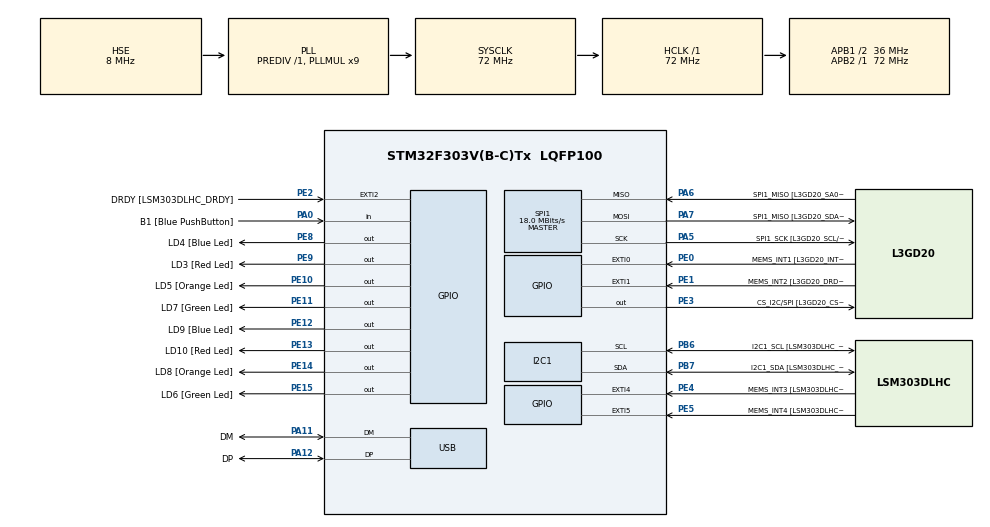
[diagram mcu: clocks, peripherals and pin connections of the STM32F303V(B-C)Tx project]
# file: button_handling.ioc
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I2C1.Timing-I2C=0x2000090E
Mcu.Family=STM32F3
Mcu.Name=STM32F303V(B-C)Tx
Mcu.Package=LQFP100
NVIC.PriorityGroup=NVIC_PRIORITYGROUP_0
NVIC.USB_LP_CAN_RX0_IRQn=true\:0\:0\:false\:false\:true\:false\:true\:true
PA0.GPIO_Label=B1 [Blue PushButton]
PA0.Signal=GPIO_Input
PA11.GPIO_Label=DM
PA11.Mode=Device
PA11.Signal=USB_DM
PA12.GPIO_Label=DP
PA12.Mode=Device
PA12.Signal=USB_DP
PA13.GPIO_Label=SWDIO
PA13.Mode=Serial_Wire
PA13.Signal=SYS_JTMS-SWDIO
PA14.GPIO_Label=SWCLK
PA14.Mode=Serial_Wire
PA14.Signal=SYS_JTCK-SWCLK
PA5.GPIO_Label=SPI1_SCK [L3GD20_SCL/SPC]
PA5.Mode=Full_Duplex_Master
PA5.Signal=SPI1_SCK
PA6.GPIO_Label=SPI1_MISO [L3GD20_SA0/SDO]
PA6.Mode=Full_Duplex_Master
PA6.Signal=SPI1_MISO
PA7.GPIO_Label=SPI1_MISO [L3GD20_SDA/SDI/SDO]
PA7.Mode=Full_Duplex_Master
PA7.Signal=SPI1_MOSI
PB3.GPIO_Label=SWO
PB3.Signal=SYS_JTDO-TRACESWO
PB6.GPIO_Label=I2C1_SCL [LSM303DLHC_SCL]
PB6.GPIO_Pu=GPIO_PULLUP
PB6.Mode=I2C
PB6.Signal=I2C1_SCL
PB7.GPIO_Label=I2C1_SDA [LSM303DLHC_SDA]
PB7.GPIO_Pu=GPIO_PULLUP
PB7.Mode=I2C
PB7.Signal=I2C1_SDA
PC14-OSC32_IN.GPIO_Label=OSC32_IN
PC14-OSC32_IN.Signal=RCC_OSC32_IN
PC15-OSC32_OUT.GPIO_Label=OSC32_OUT
PC15-OSC32_OUT.Signal=RCC_OSC32_OUT
PE0.GPIO_Label=MEMS_INT1 [L3GD20_INT1]
PE0.GPIO_ModeDefaultEXTI=GPIO_MODE_EVT_RISING
PE0.Signal=GPXTI0
PE1.GPIO_Label=MEMS_INT2 [L3GD20_DRDY/INT2]
PE1.GPIO_ModeDefaultEXTI=GPIO_MODE_EVT_RISING
PE1.Signal=GPXTI1
PE10.GPIO_Label=LD5 [Orange Led]
PE10.Signal=GPIO_Output
PE11.GPIO_Label=LD7 [Green Led]
PE11.Signal=GPIO_Output
PE12.GPIO_Label=LD9 [Blue Led]
PE12.Signal=GPIO_Output
PE13.GPIO_Label=LD10 [Red Led]
PE13.Signal=GPIO_Output
PE14.GPIO_Label=LD8 [Orange Led]
PE14.Signal=GPIO_Output
PE15.GPIO_Label=LD6 [Green Led]
PE15.Signal=GPIO_Output
PE2.GPIO_Label=DRDY [LSM303DLHC_DRDY]
PE2.GPIO_ModeDefaultEXTI=GPIO_MODE_EVT_RISING
PE2.Signal=GPXTI2
PE3.GPIO_Label=CS_I2C/SPI [L3GD20_CS_I2C/SPI]
PE3.Signal=GPIO_Output
PE4.GPIO_Label=MEMS_INT3 [LSM303DLHC_INT1]
PE4.GPIO_ModeDefaultEXTI=GPIO_MODE_EVT_RISING
PE4.Signal=GPXTI4
PE5.GPIO_Label=MEMS_INT4 [LSM303DLHC_INT2]
PE5.GPIO_ModeDefaultEXTI=GPIO_MODE_EVT_RISING
PE5.Signal=GPXTI5
PE8.GPIO_Label=LD4 [Blue Led]
PE8.Signal=GPIO_Output
PE9.GPIO_Label=LD3 [Red Led]
PE9.Signal=GPIO_Output
PF0-OSC_IN.GPIO_Label=OSC_IN
PF0-OSC_IN.Mode=HSE-External-Clock-Source
PF0-OSC_IN.Signal=RCC_OSC_IN
PF1-OSC_OUT.GPIO_Label=OSC_OUT
PF1-OSC_OUT.Signal=RCC_OSC_OUT
ProjectManager.HeapSize=0x200
ProjectManager.StackSize=0x400
ProjectManager.TargetToolchain=Makefile
RCC.AHBFreq_Value=72000000
RCC.APB1CLKDivider=RCC_HCLK_DIV2
RCC.APB1Freq_Value=36000000
RCC.APB1TimFreq_Value=72000000
RCC.APB2Freq_Value=72000000
RCC.APB2TimFreq_Value=72000000
RCC.CortexFreq_Value=72000000
RCC.HCLKFreq_Value=72000000
RCC.HSE_VALUE=8000000
RCC.HSI_VALUE=8000000
RCC.LSE_VALUE=32768
RCC.PLLMUL=RCC_PLL_MUL9
RCC.PRESCALERUSB=RCC_USBCLKSOURCE_PLL_DIV1_5
RCC.SYSCLKFreq_VALUE=72000000
RCC.SYSCLKSourceVirtual=RCC_SYSCLKSOURCE_PLLCLK
RCC.USBFreq_Value=48000000
SPI1.BaudRatePrescaler=SPI_BAUDRATEPRESCALER_4
SPI1.BaudRatePrescaler-Full_Duplex_Master=SPI_BAUDRATEPRESCALER_2
SPI1.CalculateBaudRate=18.0 MBits/s
SPI1.CalculateBaudRate-Full_Duplex_Master=24.0 MBits/s
SPI1.Direction=SPI_DIRECTION_2LINES
SPI1.Mode=SPI_MODE_MASTER
SPI1.Mode-Full_Duplex_Master=SPI_MODE_MASTER
SPI1.VirtualType=VM_MASTER
USB_DEVICE.CLASS_NAME_FS=CDC
USB_DEVICE.VirtualMode=Cdc
USB_DEVICE.VirtualModeFS=Cdc_FS
VP_CRC_VS_CRC.Mode=CRC_Activate
VP_USB_DEVICE_VS_USB_DEVICE_CDC_FS.Mode=CDC_FS
board=STM32F3DISCOVERY

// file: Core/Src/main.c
/* USER CODE BEGIN Header */
/**
  ******************************************************************************
  * @file           : main.c
  * @brief          : Main program body
  ******************************************************************************
  * @attention
  *
  * Copyright (c) 2024 STMicroelectronics.
  * All rights reserved.
  *
  * This software is licensed under terms that can be found in the LICENSE file
  * in the root directory of this software component.
  * If no LICENSE file comes with this software, it is provided AS-IS.
  *
  ******************************************************************************
  */
/* USER CODE END Header */
#include "main.h"
#include "usb_device.h"

/* USER CODE BEGIN Includes */
#include "button.h"
/* USER CODE END Includes */

/* USER CODE BEGIN PD */

/* Uncoment this define to disable long press functionality after first long press button */
// #define ALLOW_LONG_PRESS_ONCE

#define ENABLE_AUTOREPEAT true
#define ENABLE_LONG_PRESS true

/* USER CODE END PD */

CRC_HandleTypeDef hcrc;

I2C_HandleTypeDef hi2c1;

SPI_HandleTypeDef hspi1;

/* USER CODE BEGIN PV */

button_def_t button_def;
volatile int32_t ctr_led0;
volatile int32_t ctr_led1;

/* USER CODE END PV */

void SystemClock_Config(void);
static void MX_GPIO_Init(void);
static void MX_I2C1_Init(void);
static void MX_SPI1_Init(void);
static void MX_CRC_Init(void);

int main(void)
{

  /* MCU Configuration--------------------------------------------------------*/

  /* Reset of all peripherals, Initializes the Flash interface and the Systick. */
  HAL_Init();

  /* Configure the system clock */
  SystemClock_Config();

  /* Initialize all configured peripherals */
  MX_GPIO_Init();
  MX_I2C1_Init();
  MX_SPI1_Init();
  MX_USB_DEVICE_Init();
  MX_CRC_Init();
  /* USER CODE BEGIN 2 */

  button_setup(&button_def, B1_GPIO_Port, B1_Pin, ENABLE_AUTOREPEAT, ENABLE_LONG_PRESS);

  /* USER CODE END 2 */

  /* Infinite loop */
  /* USER CODE BEGIN WHILE */
  while (1)
  {
    if (button_pressed(&button_def)) {
      SetLed(0, true);
    }

    if (button_long_pressed(&button_def)) {
      SetLed(1, true);
#ifdef ALLOW_LONG_PRESS_ONCE
      button_def.enable_long_press = false;
#endif
    }

    /* USER CODE END WHILE */

    /* USER CODE BEGIN 3 */
    HAL_PWR_EnterSLEEPMode(PWR_MAINREGULATOR_ON, PWR_SLEEPENTRY_WFI);
  }
  /* USER CODE END 3 */
}

void SystemClock_Config(void)
{
  RCC_OscInitTypeDef RCC_OscInitStruct = {0};
  RCC_ClkInitTypeDef RCC_ClkInitStruct = {0};
  RCC_PeriphCLKInitTypeDef PeriphClkInit = {0};

  /** Initializes the RCC Oscillators according to the specified parameters
  * in the RCC_OscInitTypeDef structure.
  */
  RCC_OscInitStruct.OscillatorType = RCC_OSCILLATORTYPE_HSI|RCC_OSCILLATORTYPE_HSE;
  RCC_OscInitStruct.HSEState = RCC_HSE_BYPASS;
  RCC_OscInitStruct.HSEPredivValue = RCC_HSE_PREDIV_DIV1;
  RCC_OscInitStruct.HSIState = RCC_HSI_ON;
  RCC_OscInitStruct.HSICalibrationValue = RCC_HSICALIBRATION_DEFAULT;
  RCC_OscInitStruct.PLL.PLLState = RCC_PLL_ON;
  RCC_OscInitStruct.PLL.PLLSource = RCC_PLLSOURCE_HSE;
  RCC_OscInitStruct.PLL.PLLMUL = RCC_PLL_MUL9;
  if (HAL_RCC_OscConfig(&RCC_OscInitStruct) != HAL_OK)
  {
    Error_Handler();
  }

  /** Initializes the CPU, AHB and APB buses clocks
  */
  RCC_ClkInitStruct.ClockType = RCC_CLOCKTYPE_HCLK|RCC_CLOCKTYPE_SYSCLK
                              |RCC_CLOCKTYPE_PCLK1|RCC_CLOCKTYPE_PCLK2;
  RCC_ClkInitStruct.SYSCLKSource = RCC_SYSCLKSOURCE_PLLCLK;
  RCC_ClkInitStruct.AHBCLKDivider = RCC_SYSCLK_DIV1;
  RCC_ClkInitStruct.APB1CLKDivider = RCC_HCLK_DIV2;
  RCC_ClkInitStruct.APB2CLKDivider = RCC_HCLK_DIV1;

  if (HAL_RCC_ClockConfig(&RCC_ClkInitStruct, FLASH_LATENCY_2) != HAL_OK)
  {
    Error_Handler();
  }
  PeriphClkInit.PeriphClockSelection = RCC_PERIPHCLK_USB|RCC_PERIPHCLK_I2C1;
  PeriphClkInit.I2c1ClockSelection = RCC_I2C1CLKSOURCE_HSI;
  PeriphClkInit.USBClockSelection = RCC_USBCLKSOURCE_PLL_DIV1_5;
  if (HAL_RCCEx_PeriphCLKConfig(&PeriphClkInit) != HAL_OK)
  {
    Error_Handler();
  }
}

static void MX_CRC_Init(void)
{

  hcrc.Instance = CRC;
  hcrc.Init.DefaultPolynomialUse = DEFAULT_POLYNOMIAL_ENABLE;
  hcrc.Init.DefaultInitValueUse = DEFAULT_INIT_VALUE_ENABLE;
  hcrc.Init.InputDataInversionMode = CRC_INPUTDATA_INVERSION_NONE;
  hcrc.Init.OutputDataInversionMode = CRC_OUTPUTDATA_INVERSION_DISABLE;
  hcrc.InputDataFormat = CRC_INPUTDATA_FORMAT_BYTES;
  if (HAL_CRC_Init(&hcrc) != HAL_OK)
  {
    Error_Handler();
  }

}

static void MX_I2C1_Init(void)
{

  hi2c1.Instance = I2C1;
  hi2c1.Init.Timing = 0x2000090E;
  hi2c1.Init.OwnAddress1 = 0;
  hi2c1.Init.AddressingMode = I2C_ADDRESSINGMODE_7BIT;
  hi2c1.Init.DualAddressMode = I2C_DUALADDRESS_DISABLE;
  hi2c1.Init.OwnAddress2 = 0;
  hi2c1.Init.OwnAddress2Masks = I2C_OA2_NOMASK;
  hi2c1.Init.GeneralCallMode = I2C_GENERALCALL_DISABLE;
  hi2c1.Init.NoStretchMode = I2C_NOSTRETCH_DISABLE;
  if (HAL_I2C_Init(&hi2c1) != HAL_OK)
  {
    Error_Handler();
  }

  /** Configure Analogue filter
  */
  if (HAL_I2CEx_ConfigAnalogFilter(&hi2c1, I2C_ANALOGFILTER_ENABLE) != HAL_OK)
  {
    Error_Handler();
  }

  /** Configure Digital filter
  */
  if (HAL_I2CEx_ConfigDigitalFilter(&hi2c1, 0) != HAL_OK)
  {
    Error_Handler();
  }

}

static void MX_SPI1_Init(void)
{

  /* SPI1 parameter configuration*/
  hspi1.Instance = SPI1;
  hspi1.Init.Mode = SPI_MODE_MASTER;
  hspi1.Init.Direction = SPI_DIRECTION_2LINES;
  hspi1.Init.DataSize = SPI_DATASIZE_4BIT;
  hspi1.Init.CLKPolarity = SPI_POLARITY_LOW;
  hspi1.Init.CLKPhase = SPI_PHASE_1EDGE;
  hspi1.Init.NSS = SPI_NSS_SOFT;
  hspi1.Init.BaudRatePrescaler = SPI_BAUDRATEPRESCALER_4;
  hspi1.Init.FirstBit = SPI_FIRSTBIT_MSB;
  hspi1.Init.TIMode = SPI_TIMODE_DISABLE;
  hspi1.Init.CRCCalculation = SPI_CRCCALCULATION_DISABLE;
  hspi1.Init.CRCPolynomial = 7;
  hspi1.Init.CRCLength = SPI_CRC_LENGTH_DATASIZE;
  hspi1.Init.NSSPMode = SPI_NSS_PULSE_ENABLE;
  if (HAL_SPI_Init(&hspi1) != HAL_OK)
  {
    Error_Handler();
  }

}

static void MX_GPIO_Init(void)
{
  GPIO_InitTypeDef GPIO_InitStruct = {0};

  /* GPIO Ports Clock Enable */
  __HAL_RCC_GPIOE_CLK_ENABLE();
  __HAL_RCC_GPIOC_CLK_ENABLE();
  __HAL_RCC_GPIOF_CLK_ENABLE();
  __HAL_RCC_GPIOA_CLK_ENABLE();
  __HAL_RCC_GPIOB_CLK_ENABLE();

  /*Configure GPIO pin Output Level */
  HAL_GPIO_WritePin(GPIOE, CS_I2C_SPI_Pin|LD4_Pin|LD3_Pin|LD5_Pin
                          |LD7_Pin|LD9_Pin|LD10_Pin|LD8_Pin
                          |LD6_Pin, GPIO_PIN_RESET);

  /*Configure GPIO pins : DRDY_Pin MEMS_INT3_Pin MEMS_INT4_Pin MEMS_INT1_Pin
                           MEMS_INT2_Pin */
  GPIO_InitStruct.Pin = DRDY_Pin|MEMS_INT3_Pin|MEMS_INT4_Pin|MEMS_INT1_Pin
                          |MEMS_INT2_Pin;
  GPIO_InitStruct.Mode = GPIO_MODE_EVT_RISING;
  GPIO_InitStruct.Pull = GPIO_NOPULL;
  HAL_GPIO_Init(GPIOE, &GPIO_InitStruct);

  /*Configure GPIO pins : CS_I2C_SPI_Pin LD4_Pin LD3_Pin LD5_Pin
                           LD7_Pin LD9_Pin LD10_Pin LD8_Pin
                           LD6_Pin */
  GPIO_InitStruct.Pin = CS_I2C_SPI_Pin|LD4_Pin|LD3_Pin|LD5_Pin
                          |LD7_Pin|LD9_Pin|LD10_Pin|LD8_Pin
                          |LD6_Pin;
  GPIO_InitStruct.Mode = GPIO_MODE_OUTPUT_PP;
  GPIO_InitStruct.Pull = GPIO_NOPULL;
  GPIO_InitStruct.Speed = GPIO_SPEED_FREQ_LOW;
  HAL_GPIO_Init(GPIOE, &GPIO_InitStruct);

  /*Configure GPIO pin : B1_Pin */
  GPIO_InitStruct.Pin = B1_Pin;
  GPIO_InitStruct.Mode = GPIO_MODE_INPUT;
  GPIO_InitStruct.Pull = GPIO_NOPULL;
  HAL_GPIO_Init(B1_GPIO_Port, &GPIO_InitStruct);

}

/* USER CODE BEGIN 4 */

void SetLed(uint8_t index, bool state)
{
  GPIO_PinState pinState = GPIO_PIN_RESET;
  GPIO_TypeDef *port;
  uint32_t pin;

  if (state) {
    pinState = GPIO_PIN_SET;
  }

  switch (index) {
    case 0:
      port = LD4_GPIO_Port;
      pin = LD4_Pin;
      if (state) {
        ctr_led0 = 0;
      }
      break;
    case 1:
      port = LD5_GPIO_Port;
      pin = LD5_Pin;
      if (state) {
        ctr_led1 = 0;
      }
      break;
    default:
      return;
  }

  HAL_GPIO_WritePin(port, pin, pinState);
};

/* USER CODE END 4 */

void Error_Handler(void)
{
  __disable_irq();
  while (1)
  {
  }
}
